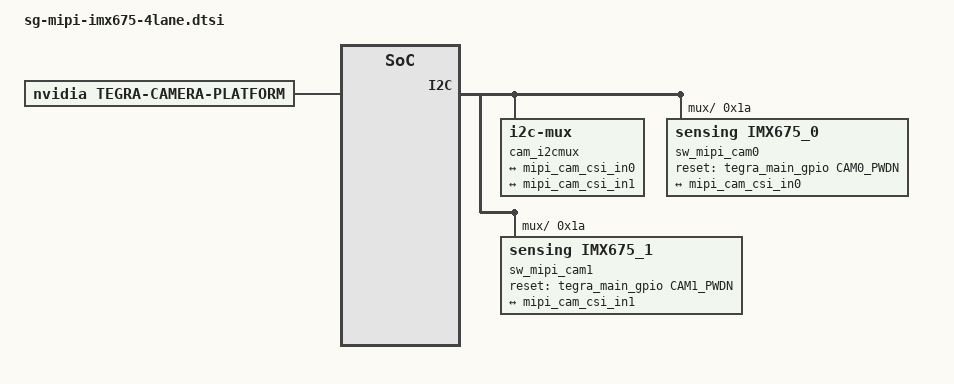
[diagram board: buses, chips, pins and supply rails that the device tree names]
/*
 * Copyright (c) 2022-2023, NVIDIA CORPORATION.  All rights reserved.
 *
 * This program is free software; you can redistribute it and/or modify
 * it under the terms of the GNU General Public License as published by
 * the Free Software Foundation; either version 2 of the License, or
 * (at your option) any later version.
 *
 * This program is distributed in the hope that it will be useful, but WITHOUT
 * ANY WARRANTY; without even the implied warranty of MERCHANTABILITY or
 * FITNESS FOR A PARTICULAR PURPOSE.  See the GNU General Public License for
 * more details.
 *
 * You should have received a copy of the GNU General Public License
 * along with this program.  If not, see <http://www.gnu.org/licenses/>.
 */
#define CAM0_PWDN	TEGRA234_MAIN_GPIO(H, 6)
#define CAM1_PWDN	TEGRA234_MAIN_GPIO(AC, 0)
#define CAM_I2C_MUX 	TEGRA234_AON_GPIO(CC, 3)

/ {
	tegra-capture-vi  {
		num-channels = <2>;
		ports {
			#address-cells = <1>;
			#size-cells = <0>;
			port@0 {
				reg = <0>;
				mipi_cam_vi_in0: endpoint {
					port-index = <0>;
					bus-width = <4>;
					remote-endpoint = <&mipi_cam_csi_out0>;
				};
			};
			port@1 {
				reg = <1>;
				mipi_cam_vi_in1: endpoint {
					port-index = <2>;
					bus-width = <4>;
					remote-endpoint = <&mipi_cam_csi_out1>;
				};
			};
		};
	};

	host1x@13e00000 {
		nvcsi@15a00000 {
			num-channels = <2>;
			#address-cells = <1>;
			#size-cells = <0>;
			channel@0 {
				reg = <0>;
				ports {
					#address-cells = <1>;
					#size-cells = <0>;
					port@0 {
						reg = <0>;
						mipi_cam_csi_in0: endpoint@0 {
							port-index = <0>;
							bus-width = <4>;
							remote-endpoint = <&mipi_cam_out0>;
						};
					};
					port@1 {
						reg = <1>;
						mipi_cam_csi_out0: endpoint@1 {
							remote-endpoint = <&mipi_cam_vi_in0>;
						};
					};
				};
			};
			channel@1 {
				reg = <1>;
				ports {
					#address-cells = <1>;
					#size-cells = <0>;
					port@0 {
						reg = <0>;
						mipi_cam_csi_in1: endpoint@2 {
							port-index = <2>;
							bus-width = <4>;
							remote-endpoint = <&mipi_cam_out1>;
						};
					};
					port@1 {
						reg = <1>;
						mipi_cam_csi_out1: endpoint@3 {
							remote-endpoint = <&mipi_cam_vi_in1>;
						};
					};
				};
			};
		};
	};

	cam_i2cmux {
		i2c@0 {
			sw_mipi_cam0: cam_0@1a {
				compatible = "sensing,imx675_0";
				/* I2C device address */
				reg = <0x1a>;

				/* V4L2 device node location */
				devnode = "video0";

				/* Physical dimensions of sensor */
				physical_w = "3.680";
				physical_h = "2.760";

				sensor_model = "imx675";

				use_sensor_mode_id = "true";

				/* Convert Gain to unit of dB (decibel) befor passing to kernel driver */
				use_decibel_gain = "true";

				reset-gpios = <&tegra_main_gpio CAM0_PWDN GPIO_ACTIVE_HIGH>;

				/**
				* ==== Modes ====
				*/
				mode0 { /*  */
					mclk_khz = "24000";
					num_lanes = "4";
					tegra_sinterface = "serial_a";
					phy_mode = "DPHY";
					discontinuous_clk = "no";
					dpcm_enable = "false";
					cil_settletime = "0";
					lane_polarity = "0";

					active_w = "2608";
					active_h = "1960";
					mode_type = "bayer";
					pixel_phase = "rggb";
					csi_pixel_bit_depth = "10";
					dynamic_pixel_bit_depth = "10";
					readout_orientation = "0";
					line_length = "2608";
					inherent_gain = "1";
					mclk_multiplier = "19.8";//600000 Khz / 25 =24000 Khz
					pix_clk_hz = "475200000";

					gain_factor = "1000";
					min_gain_val = "1"; /* dB */
					max_gain_val = "72000"; /* dB */
					step_gain_val = "300"; /* 0.3 */
					default_gain = "1";
					min_hdr_ratio = "1";
					max_hdr_ratio = "1";
					framerate_factor = "1000000";
					min_framerate = "30000000";
					max_framerate = "30000000";
					step_framerate = "1";
					default_framerate = "30000000";
					exposure_factor = "1000000";
					min_exp_time = "16"; /*us, 2 lines*/
					max_exp_time = "30000";
					step_exp_time = "1";
					default_exp_time = "30000";/* us */
					embedded_metadata_height = "1";
				};

				ports {
					#address-cells = <1>;
					#size-cells = <0>;

					port@0 {
						reg = <0>;
						mipi_cam_out0: endpoint {
							port-index = <0>;
							bus-width = <4>;
							remote-endpoint = <&mipi_cam_csi_in0>;
						};
					};
				};
			};
		};
		i2c@1 {
			sw_mipi_cam1: cam_1@1a {
				compatible = "sensing,imx675_1";
				/* I2C device address */
				reg = <0x1a>;

				/* V4L2 device node location */
				devnode = "video1";

				/* Physical dimensions of sensor */
				physical_w = "3.680";
				physical_h = "2.760";

				sensor_model = "imx675";

				use_sensor_mode_id = "true";

				/* Convert Gain to unit of dB (decibel) befor passing to kernel driver */
				use_decibel_gain = "true";

				reset-gpios = <&tegra_main_gpio CAM1_PWDN GPIO_ACTIVE_HIGH>;

				mode0 { /* sensor_mode_2608x1960_4lane_raw12_linear_30fps */
					mclk_khz = "24000";
					num_lanes = "4";
					tegra_sinterface = "serial_c";
					phy_mode = "DPHY";
					discontinuous_clk = "no";
					dpcm_enable = "false";
					cil_settletime = "0";
					lane_polarity = "0";

					active_w = "2608";
					active_h = "1960";
					mode_type = "bayer";
					pixel_phase = "rggb";
					csi_pixel_bit_depth = "12";
					dynamic_pixel_bit_depth = "12";
					readout_orientation = "0";
					line_length = "2608";
					inherent_gain = "1";
					mclk_multiplier = "19.8";
					pix_clk_hz = "240000000";

					gain_factor = "1000";
					min_gain_val = "1"; /* dB */
					max_gain_val = "72000"; /* dB */
					step_gain_val = "300"; /* 0.3 */
					default_gain = "1";
					min_hdr_ratio = "1";
					max_hdr_ratio = "1";
					framerate_factor = "1000000";
					min_framerate = "30000000";
					max_framerate = "30000000";
					step_framerate = "1";
					default_framerate = "30000000";
					exposure_factor = "1000000";
					min_exp_time = "15"; 		/*us, 1 lines*/
					max_exp_time = "30000";		/*us, 2246 lines*/
					step_exp_time = "1";
					default_exp_time = "30000";/* us */
					embedded_metadata_height = "1";
				};

				mode1 { /* sensor_mode_1304x972_4lane_raw12_linear_30fps */
					mclk_khz = "24000";
					num_lanes = "4";
					tegra_sinterface = "serial_c";
					phy_mode = "DPHY";
					discontinuous_clk = "no";
					dpcm_enable = "false";
					cil_settletime = "0";
					lane_polarity = "0";

					active_w = "1304";
					active_h = "972";
					mode_type = "bayer";
					pixel_phase = "rggb";
					csi_pixel_bit_depth = "12";
					dynamic_pixel_bit_depth = "12";
					readout_orientation = "0";
					line_length = "2608";
					inherent_gain = "1";
					mclk_multiplier = "19.8";
					pix_clk_hz = "198000000";

					gain_factor = "1000";
					min_gain_val = "1"; /* dB */
					max_gain_val = "72000"; /* dB */
					step_gain_val = "300"; /* 0.3 */
					default_gain = "1";
					min_hdr_ratio = "1";
					max_hdr_ratio = "1";
					framerate_factor = "1000000";
					min_framerate = "30000000";
					max_framerate = "30000000";
					step_framerate = "1";
					default_framerate = "30000000";
					exposure_factor = "1000000";
					min_exp_time = "15"; 		/*us, 1 lines*/
					max_exp_time = "30000";		/*us, 2246 lines*/
					step_exp_time = "1";
					default_exp_time = "30000";/* us */
					embedded_metadata_height = "1";
				};

				mode2 { /* sensor_mode_2592x1944_4lane_raw10_dol2_30fps */
					mclk_khz = "24000";
					num_lanes = "4";
					tegra_sinterface = "serial_c";
					phy_mode = "DPHY";
					discontinuous_clk = "yes";
					dpcm_enable = "false";
					cil_settletime = "0";
					lane_polarity = "0";

					active_w = "2624";
					active_h = "4060";
					mode_type = "bayer_wdr_dol";
					pixel_phase = "rggb";
					csi_pixel_bit_depth = "10";
					dynamic_pixel_bit_depth = "10";
					readout_orientation = "0";
					line_length = "3872";
					inherent_gain = "1";
					mclk_multiplier = "25";
					pix_clk_hz = "594000000";

					gain_factor = "1000";
					min_gain_val = "1"; 		/* 0 dB */
					max_gain_val = "72000"; /* dB */
					step_gain_val = "300"; /* 0.3 */
					default_gain = "1";
					min_hdr_ratio = "16";
					max_hdr_ratio = "16";
					framerate_factor = "1000000";
					min_framerate = "30000000";
					max_framerate = "30000000";
					step_framerate = "1";
					default_framerate = "30000000";
					exposure_factor = "1000000";
					min_exp_time = "17"; 		/*us, 2 lines*/
					max_exp_time = "30000";		/*us, 4096 lines*/
					step_exp_time = "1";
					default_exp_time = "30000";/* us */
					embedded_metadata_height = "1";
					
					// /* WDR related settings */
					num_of_exposure = "2";
					num_of_ignored_lines = "24"; 
					num_of_lines_offset_0 = "62";
					num_of_ignored_pixels = "16";
					num_of_left_margin_pixels = "8";
					num_of_right_margin_pixels = "8";
				};

				mode3 { /* sensor_mode_2608x1960_4lane_raw10_linear_60fps */
					mclk_khz = "24000";
					num_lanes = "4";
					tegra_sinterface = "serial_c";
					phy_mode = "DPHY";
					discontinuous_clk = "no";
					dpcm_enable = "false";
					cil_settletime = "0";
					lane_polarity = "0";

					active_w = "2608";
					active_h = "1960";
					mode_type = "bayer";
					pixel_phase = "rggb";
					csi_pixel_bit_depth = "10";
					dynamic_pixel_bit_depth = "10";
					readout_orientation = "0";
					line_length = "2608";
					inherent_gain = "1";
					mclk_multiplier = "19.8";
					pix_clk_hz = "475200000";

					gain_factor = "1000";
					min_gain_val = "1"; /* dB */
					max_gain_val = "72000"; /* dB */
					step_gain_val = "300"; /* 0.3 */
					default_gain = "1";
					min_hdr_ratio = "1";
					max_hdr_ratio = "1";
					framerate_factor = "1000000";
					min_framerate = "60000000";
					max_framerate = "60000000";
					step_framerate = "1";
					default_framerate = "60000000";
					exposure_factor = "1000000";
					min_exp_time = "8"; 		/*us, 1 lines*/
					max_exp_time = "16000";		/*us, 2246 lines*/
					step_exp_time = "1";
					default_exp_time = "16000";/* us */
					embedded_metadata_height = "1";
				};

				mode4 { /* sensor_mode_1296x972_4lane_raw12_linear_60fps */
					mclk_khz = "24000";
					num_lanes = "4";
					tegra_sinterface = "serial_c";
					phy_mode = "DPHY";
					discontinuous_clk = "no";
					dpcm_enable = "false";
					cil_settletime = "0";
					lane_polarity = "0";

					active_w = "1304";
					active_h = "972";
					mode_type = "bayer";
					pixel_phase = "rggb";
					csi_pixel_bit_depth = "12";
					dynamic_pixel_bit_depth = "12";
					readout_orientation = "0";
					line_length = "2608";
					inherent_gain = "1";
					mclk_multiplier = "19.8";
					pix_clk_hz = "198000000";

					gain_factor = "1000";
					min_gain_val = "1"; /* dB */
					max_gain_val = "72000"; /* dB */
					step_gain_val = "300"; /* 0.3 */
					default_gain = "1";
					min_hdr_ratio = "1";
					max_hdr_ratio = "1";
					framerate_factor = "1000000";
					min_framerate = "60000000";
					max_framerate = "60000000";
					step_framerate = "1";
					default_framerate = "60000000";
					exposure_factor = "1000000";
					min_exp_time = "8"; 		/*us, 1 lines*/
					max_exp_time = "16000";		/*us, 2246 lines*/
					step_exp_time = "1";
					default_exp_time = "16000";/* us */
					embedded_metadata_height = "1";
				};

				ports {
					#address-cells = <1>;
					#size-cells = <0>;

					port@0 {
						reg = <0>;
						mipi_cam_out1: endpoint {
							port-index = <2>;
							bus-width = <4>;
							remote-endpoint = <&mipi_cam_csi_in1>;
						};
					};
				};
			};
		};
	};
};

/ {
	tegra-camera-platform {
		compatible = "nvidia, tegra-camera-platform";

		/**
		* Physical settings to calculate max ISO BW
		*
		* num_csi_lanes = <>;
		* Total number of CSI lanes when all cameras are active
		*
		* max_lane_speed = <>;
		* Max lane speed in Kbit/s
		*
		* min_bits_per_pixel = <>;
		* Min bits per pixel
		*
		* vi_peak_byte_per_pixel = <>;
		* Max byte per pixel for the VI ISO case
		*
		* vi_bw_margin_pct = <>;
		* Vi bandwidth margin in percentage
		*
		* max_pixel_rate = <>;
		* Max pixel rate in Kpixel/s for the ISP ISO case
		*
		* isp_peak_byte_per_pixel = <>;
		* Max byte per pixel for the ISP ISO case
		*
		* isp_bw_margin_pct = <>;
		* Isp bandwidth margin in percentage
		*/
		num_csi_lanes = <8>;
		max_lane_speed = <2500000>;
		min_bits_per_pixel = <10>;
		vi_peak_byte_per_pixel = <2>;
		vi_bw_margin_pct = <25>;
		max_pixel_rate = <7500000>;
		isp_peak_byte_per_pixel = <5>;
		isp_bw_margin_pct = <25>;

		/**
		 * The general guideline for naming badge_info contains 3 parts, and is as follows,
		 * The first part is the camera_board_id for the module; if the module is in a FFD
		 * platform, then use the platform name for this part.
		 * The second part contains the position of the module, ex. "rear" or "front".
		 * The third part contains the last 6 characters of a part number which is found
		 * in the module's specsheet from the vendor.
		 */
		modules {
			module0 {
				badge = "imx675_front";
				position = "front";
				orientation = "1";
				drivernode0 {
					pcl_id = "v4l2_sensor";
					devname = "imx675 9-001a";
					proc-device-tree = "/proc/device-tree/cam_i2cmux/i2c@0/cam_0@1a";
				};
			};
			module1 {
				badge = "imx675_rear";
				position = "rear";
				orientation = "1";
				drivernode0 {
					pcl_id = "v4l2_sensor";
					devname = "imx675 10-001a";
					proc-device-tree = "/proc/device-tree/cam_i2cmux/i2c@1/cam_1@1a";
				};
			};
		};
	};
};
